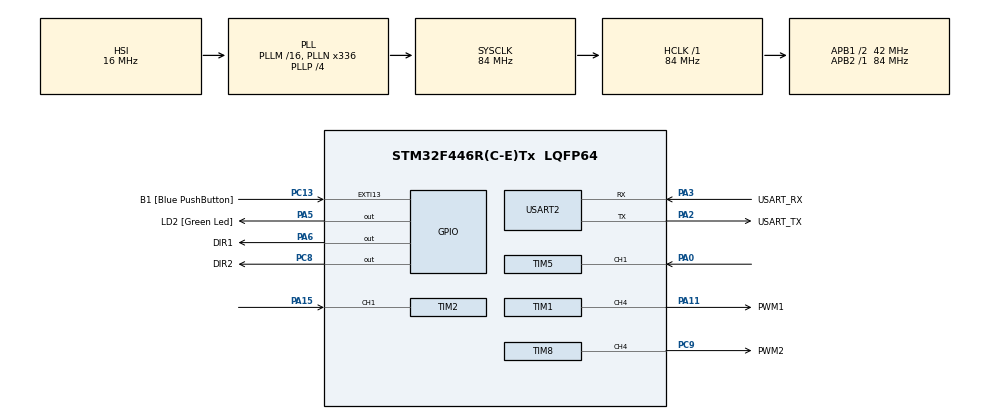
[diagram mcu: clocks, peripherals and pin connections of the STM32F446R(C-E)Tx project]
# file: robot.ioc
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Mcu.Family=STM32F4
Mcu.Name=STM32F446R(C-E)Tx
Mcu.Package=LQFP64
NVIC.EXTI15_10_IRQn=true\:0\:0\:false\:true\:true\:1\:true\:true\:true
NVIC.PriorityGroup=NVIC_PRIORITYGROUP_0
NVIC.TIM2_IRQn=true\:0\:0\:false\:true\:true\:3\:true\:true\:true
NVIC.TIM5_IRQn=true\:0\:0\:false\:true\:true\:2\:true\:true\:true
PA0-WKUP.Signal=S_TIM5_CH1
PA11.GPIO_Label=PWM1
PA11.Signal=S_TIM1_CH4
PA13.GPIO_Label=TMS
PA13.Mode=Serial_Wire
PA13.Signal=SYS_JTMS-SWDIO
PA14.GPIO_Label=TCK
PA14.Mode=Serial_Wire
PA14.Signal=SYS_JTCK-SWCLK
PA15.Signal=S_TIM2_CH1_ETR
PA2.GPIO_Label=USART_TX
PA2.Mode=Asynchronous
PA2.Signal=USART2_TX
PA3.GPIO_Label=USART_RX
PA3.Mode=Asynchronous
PA3.Signal=USART2_RX
PA5.GPIO_Label=LD2 [Green Led]
PA5.Signal=GPIO_Output
PA6.GPIO_Label=DIR1
PA6.Signal=GPIO_Output
PB3.GPIO_Label=SWO
PB3.Signal=SYS_JTDO-SWO
PC13.GPIO_Label=B1 [Blue PushButton]
PC13.GPIO_ModeDefaultEXTI=GPIO_MODE_IT_FALLING
PC13.Signal=GPXTI13
PC14-OSC32_IN.Mode=LSE-External-Oscillator
PC14-OSC32_IN.Signal=RCC_OSC32_IN
PC15-OSC32_OUT.Mode=LSE-External-Oscillator
PC15-OSC32_OUT.Signal=RCC_OSC32_OUT
PC8.GPIO_Label=DIR2
PC8.Signal=GPIO_Output
PC9.GPIO_Label=PWM2
PC9.Signal=S_TIM8_CH4
PH0-OSC_IN.Mode=HSE-External-Oscillator
PH0-OSC_IN.Signal=RCC_OSC_IN
PH1-OSC_OUT.Mode=HSE-External-Oscillator
PH1-OSC_OUT.Signal=RCC_OSC_OUT
ProjectManager.HeapSize=0x200
ProjectManager.StackSize=0x400
ProjectManager.TargetToolchain=Makefile
RCC.48MHZClocksFreq_Value=84000000
RCC.AHBFreq_Value=84000000
RCC.APB1CLKDivider=RCC_HCLK_DIV2
RCC.APB1Freq_Value=42000000
RCC.APB1TimFreq_Value=84000000
RCC.APB2Freq_Value=84000000
RCC.APB2TimFreq_Value=84000000
RCC.CortexFreq_Value=84000000
RCC.FLatency-AdvancedSettings=FLASH_LATENCY_2
RCC.HCLKFreq_Value=84000000
RCC.HSE_VALUE=8000000
RCC.HSI_VALUE=16000000
RCC.PLLN=336
RCC.PLLP=RCC_PLLP_DIV4
RCC.SYSCLKFreq_VALUE=84000000
RCC.SYSCLKSource=RCC_SYSCLKSOURCE_PLLCLK
RCC.USBFreq_Value=168000000
RCC.VCOOutputFreq_Value=336000000
SH.S_TIM1_CH4.0=TIM1_CH4,PWM Generation4 CH4
SH.S_TIM2_CH1_ETR.0=TIM2_CH1,Input_Capture1_from_TI1
SH.S_TIM5_CH1.0=TIM5_CH1,Input_Capture1_from_TI1
SH.S_TIM8_CH4.0=TIM8_CH4,PWM Generation4 CH4
TIM1.AutoReloadPreload=TIM_AUTORELOAD_PRELOAD_ENABLE
TIM1.Channel-PWM\ Generation4\ CH4=TIM_CHANNEL_4
TIM2.Channel-Input_Capture1_from_TI1=TIM_CHANNEL_1
TIM5.Channel-Input_Capture1_from_TI1=TIM_CHANNEL_1
TIM5.Prescaler=0
TIM8.AutoReloadPreload=TIM_AUTORELOAD_PRELOAD_ENABLE
TIM8.Channel-PWM\ Generation4\ CH4=TIM_CHANNEL_4
USART2.VirtualMode=VM_ASYNC
VP_TIM1_VS_ClockSourceINT.Mode=Internal
VP_TIM2_VS_ClockSourceINT.Mode=Internal
VP_TIM5_VS_ClockSourceINT.Mode=Internal
VP_TIM8_VS_ClockSourceINT.Mode=Internal
board=NUCLEO-F446RE

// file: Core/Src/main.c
/* USER CODE BEGIN Header */
/**
  ******************************************************************************
  * @file           : main.c
  * @brief          : Main program body
  ******************************************************************************
  * @attention
  *
  * Copyright (c) 2025 STMicroelectronics.
  * All rights reserved.
  *
  * This software is licensed under terms that can be found in the LICENSE file
  * in the root directory of this software component.
  * If no LICENSE file comes with this software, it is provided AS-IS.
  *
  ******************************************************************************
  */
/* USER CODE END Header */
#include "main.h"

/* USER CODE BEGIN PD */
#define FRONTWARD 1
#define BACKWARD 0
/* USER CODE END PD */

TIM_HandleTypeDef htim1;
TIM_HandleTypeDef htim2;
TIM_HandleTypeDef htim5;
TIM_HandleTypeDef htim8;

UART_HandleTypeDef huart2;

void SystemClock_Config(void);
static void MX_GPIO_Init(void);
static void MX_USART2_UART_Init(void);
static void MX_TIM1_Init(void);
static void MX_TIM8_Init(void);
static void MX_TIM2_Init(void);
static void MX_TIM5_Init(void);
static void MX_NVIC_Init(void);
/* USER CODE BEGIN PFP */
static void setMotorLeftSpeed(uint8_t speed);
static void setMotorRightSpeed(uint8_t speed);
static void setMotorLeftDir(uint8_t dir);
static void setMotorRightDir(uint8_t dir);
/* USER CODE END PFP */

int main(void)
{

  /* MCU Configuration--------------------------------------------------------*/

  /* Reset of all peripherals, Initializes the Flash interface and the Systick. */
  HAL_Init();

  /* Configure the system clock */
  SystemClock_Config();

  /* Initialize all configured peripherals */
  MX_GPIO_Init();
  MX_USART2_UART_Init();
  MX_TIM1_Init();
  MX_TIM8_Init();
  MX_TIM2_Init();
  MX_TIM5_Init();

  /* Initialize interrupts */
  MX_NVIC_Init();

  /* Infinite loop */
  /* USER CODE BEGIN WHILE */
  uint8_t selection = 0;
  uint8_t speed_val = 0;
  uint8_t dir_val = FRONTWARD;
  char buffer[100];

  // Start both PWMs
  HAL_TIM_PWM_Start(&htim1, TIM_CHANNEL_4);  // start PWM1 on TIM1_CH4
  HAL_TIM_PWM_Start(&htim8, TIM_CHANNEL_4);  // start PWM2 on TIM8_CH4

  // Startup message
  HAL_UART_Transmit(&huart2, "Press any key to stop\r\n", 28, 1000u);
  while (1)
  {
    /* Receive a character from user */
	  if (HAL_UART_Receive(&huart2, &selection, 1, 0u) == HAL_OK)
	  {
		  switch (selection)
		  {
			  case '1':
				  HAL_UART_Transmit(&huart2, "Program has stopped\r\n", 28, 1000u);
				  break;

			  case '2':
				  HAL_UART_Transmit(&huart2, "Program has stopped\r\n", 28, 1000u);
				  break;

			  case '3':
				  HAL_UART_Transmit(&huart2, "Program has stopped\r\n", 28, 1000u);
				  break;

			  default:
				  HAL_UART_Transmit(&huart2, "Program has stopped\r\n", 34, 1000u);
				  break;
		  }
	  }
    /* Send command to both motors */
    if(selection == 0)  // if any key is pressed, the program stops
    {
      while(speed_val < 100)
      {
        setMotorLeftSpeed(speed_val);
        setMotorRightSpeed(speed_val);
        speed_val += 1;
        HAL_Delay(10);
      }
      while(speed_val > 0)
      {
        setMotorLeftSpeed(speed_val);
        setMotorRightSpeed(speed_val);
        speed_val -= 1;
        HAL_Delay(10);
      }
      // Inverse direction
      if(dir_val == FRONTWARD)
      {
        setMotorLeftDir(FRONTWARD);
        setMotorRightDir(FRONTWARD);
        dir_val = BACKWARD;
      }
      else
      {
        setMotorLeftDir(BACKWARD);
        setMotorRightDir(BACKWARD);
        dir_val = FRONTWARD;
      }
      HAL_Delay(100);

      //sprintf(buffer, "dir_val = 0x%02x\r\n", dir_val);
      //HAL_UART_Transmit(&huart2, buffer, 28, 1000u);
    }
    else
    {
      HAL_TIM_PWM_Stop(&htim1, TIM_CHANNEL_4);  // start PWM1 on TIM1_CH4
      HAL_TIM_PWM_Stop(&htim8, TIM_CHANNEL_4);  // start PWM2 on TIM8_CH4
    }
    /* USER CODE END WHILE */

  }
}

void SystemClock_Config(void)
{
  RCC_OscInitTypeDef RCC_OscInitStruct = {0};
  RCC_ClkInitTypeDef RCC_ClkInitStruct = {0};

  /** Configure the main internal regulator output voltage
  */
  __HAL_RCC_PWR_CLK_ENABLE();
  __HAL_PWR_VOLTAGESCALING_CONFIG(PWR_REGULATOR_VOLTAGE_SCALE3);

  /** Initializes the RCC Oscillators according to the specified parameters
  * in the RCC_OscInitTypeDef structure.
  */
  RCC_OscInitStruct.OscillatorType = RCC_OSCILLATORTYPE_HSI;
  RCC_OscInitStruct.HSIState = RCC_HSI_ON;
  RCC_OscInitStruct.HSICalibrationValue = RCC_HSICALIBRATION_DEFAULT;
  RCC_OscInitStruct.PLL.PLLState = RCC_PLL_ON;
  RCC_OscInitStruct.PLL.PLLSource = RCC_PLLSOURCE_HSI;
  RCC_OscInitStruct.PLL.PLLM = 16;
  RCC_OscInitStruct.PLL.PLLN = 336;
  RCC_OscInitStruct.PLL.PLLP = RCC_PLLP_DIV4;
  RCC_OscInitStruct.PLL.PLLQ = 2;
  RCC_OscInitStruct.PLL.PLLR = 2;
  if (HAL_RCC_OscConfig(&RCC_OscInitStruct) != HAL_OK)
  {
    Error_Handler();
  }

  /** Initializes the CPU, AHB and APB buses clocks
  */
  RCC_ClkInitStruct.ClockType = RCC_CLOCKTYPE_HCLK|RCC_CLOCKTYPE_SYSCLK
                              |RCC_CLOCKTYPE_PCLK1|RCC_CLOCKTYPE_PCLK2;
  RCC_ClkInitStruct.SYSCLKSource = RCC_SYSCLKSOURCE_PLLCLK;
  RCC_ClkInitStruct.AHBCLKDivider = RCC_SYSCLK_DIV1;
  RCC_ClkInitStruct.APB1CLKDivider = RCC_HCLK_DIV2;
  RCC_ClkInitStruct.APB2CLKDivider = RCC_HCLK_DIV1;

  if (HAL_RCC_ClockConfig(&RCC_ClkInitStruct, FLASH_LATENCY_2) != HAL_OK)
  {
    Error_Handler();
  }
}

/**
  * @brief NVIC Configuration.
  * @retval None
  */
static void MX_NVIC_Init(void)
{
  /* EXTI15_10_IRQn interrupt configuration */
  HAL_NVIC_SetPriority(EXTI15_10_IRQn, 0, 0);
  HAL_NVIC_EnableIRQ(EXTI15_10_IRQn);
  /* TIM5_IRQn interrupt configuration */
  HAL_NVIC_SetPriority(TIM5_IRQn, 0, 0);
  HAL_NVIC_EnableIRQ(TIM5_IRQn);
  /* TIM2_IRQn interrupt configuration */
  HAL_NVIC_SetPriority(TIM2_IRQn, 0, 0);
  HAL_NVIC_EnableIRQ(TIM2_IRQn);
}

static void MX_TIM1_Init(void)
{

  TIM_ClockConfigTypeDef sClockSourceConfig = {0};
  TIM_MasterConfigTypeDef sMasterConfig = {0};
  TIM_OC_InitTypeDef sConfigOC = {0};
  TIM_BreakDeadTimeConfigTypeDef sBreakDeadTimeConfig = {0};

  htim1.Instance = TIM1;
  htim1.Init.Prescaler = 0;
  htim1.Init.CounterMode = TIM_COUNTERMODE_UP;
  htim1.Init.Period = 65535;
  htim1.Init.ClockDivision = TIM_CLOCKDIVISION_DIV1;
  htim1.Init.RepetitionCounter = 0;
  htim1.Init.AutoReloadPreload = TIM_AUTORELOAD_PRELOAD_ENABLE;
  if (HAL_TIM_Base_Init(&htim1) != HAL_OK)
  {
    Error_Handler();
  }
  sClockSourceConfig.ClockSource = TIM_CLOCKSOURCE_INTERNAL;
  if (HAL_TIM_ConfigClockSource(&htim1, &sClockSourceConfig) != HAL_OK)
  {
    Error_Handler();
  }
  if (HAL_TIM_PWM_Init(&htim1) != HAL_OK)
  {
    Error_Handler();
  }
  sMasterConfig.MasterOutputTrigger = TIM_TRGO_RESET;
  sMasterConfig.MasterSlaveMode = TIM_MASTERSLAVEMODE_DISABLE;
  if (HAL_TIMEx_MasterConfigSynchronization(&htim1, &sMasterConfig) != HAL_OK)
  {
    Error_Handler();
  }
  sConfigOC.OCMode = TIM_OCMODE_PWM1;
  sConfigOC.Pulse = 0;
  sConfigOC.OCPolarity = TIM_OCPOLARITY_HIGH;
  sConfigOC.OCFastMode = TIM_OCFAST_DISABLE;
  sConfigOC.OCIdleState = TIM_OCIDLESTATE_RESET;
  sConfigOC.OCNIdleState = TIM_OCNIDLESTATE_RESET;
  if (HAL_TIM_PWM_ConfigChannel(&htim1, &sConfigOC, TIM_CHANNEL_4) != HAL_OK)
  {
    Error_Handler();
  }
  sBreakDeadTimeConfig.OffStateRunMode = TIM_OSSR_DISABLE;
  sBreakDeadTimeConfig.OffStateIDLEMode = TIM_OSSI_DISABLE;
  sBreakDeadTimeConfig.LockLevel = TIM_LOCKLEVEL_OFF;
  sBreakDeadTimeConfig.DeadTime = 0;
  sBreakDeadTimeConfig.BreakState = TIM_BREAK_DISABLE;
  sBreakDeadTimeConfig.BreakPolarity = TIM_BREAKPOLARITY_HIGH;
  sBreakDeadTimeConfig.AutomaticOutput = TIM_AUTOMATICOUTPUT_DISABLE;
  if (HAL_TIMEx_ConfigBreakDeadTime(&htim1, &sBreakDeadTimeConfig) != HAL_OK)
  {
    Error_Handler();
  }
  HAL_TIM_MspPostInit(&htim1);

}

static void MX_TIM2_Init(void)
{

  TIM_ClockConfigTypeDef sClockSourceConfig = {0};
  TIM_MasterConfigTypeDef sMasterConfig = {0};
  TIM_IC_InitTypeDef sConfigIC = {0};

  htim2.Instance = TIM2;
  htim2.Init.Prescaler = 0;
  htim2.Init.CounterMode = TIM_COUNTERMODE_UP;
  htim2.Init.Period = 4294967295;
  htim2.Init.ClockDivision = TIM_CLOCKDIVISION_DIV1;
  htim2.Init.AutoReloadPreload = TIM_AUTORELOAD_PRELOAD_DISABLE;
  if (HAL_TIM_Base_Init(&htim2) != HAL_OK)
  {
    Error_Handler();
  }
  sClockSourceConfig.ClockSource = TIM_CLOCKSOURCE_INTERNAL;
  if (HAL_TIM_ConfigClockSource(&htim2, &sClockSourceConfig) != HAL_OK)
  {
    Error_Handler();
  }
  if (HAL_TIM_IC_Init(&htim2) != HAL_OK)
  {
    Error_Handler();
  }
  sMasterConfig.MasterOutputTrigger = TIM_TRGO_RESET;
  sMasterConfig.MasterSlaveMode = TIM_MASTERSLAVEMODE_DISABLE;
  if (HAL_TIMEx_MasterConfigSynchronization(&htim2, &sMasterConfig) != HAL_OK)
  {
    Error_Handler();
  }
  sConfigIC.ICPolarity = TIM_INPUTCHANNELPOLARITY_RISING;
  sConfigIC.ICSelection = TIM_ICSELECTION_DIRECTTI;
  sConfigIC.ICPrescaler = TIM_ICPSC_DIV1;
  sConfigIC.ICFilter = 0;
  if (HAL_TIM_IC_ConfigChannel(&htim2, &sConfigIC, TIM_CHANNEL_1) != HAL_OK)
  {
    Error_Handler();
  }

}

static void MX_TIM5_Init(void)
{

  TIM_ClockConfigTypeDef sClockSourceConfig = {0};
  TIM_MasterConfigTypeDef sMasterConfig = {0};
  TIM_IC_InitTypeDef sConfigIC = {0};

  htim5.Instance = TIM5;
  htim5.Init.Prescaler = 0;
  htim5.Init.CounterMode = TIM_COUNTERMODE_UP;
  htim5.Init.Period = 4294967295;
  htim5.Init.ClockDivision = TIM_CLOCKDIVISION_DIV1;
  htim5.Init.AutoReloadPreload = TIM_AUTORELOAD_PRELOAD_DISABLE;
  if (HAL_TIM_Base_Init(&htim5) != HAL_OK)
  {
    Error_Handler();
  }
  sClockSourceConfig.ClockSource = TIM_CLOCKSOURCE_INTERNAL;
  if (HAL_TIM_ConfigClockSource(&htim5, &sClockSourceConfig) != HAL_OK)
  {
    Error_Handler();
  }
  if (HAL_TIM_IC_Init(&htim5) != HAL_OK)
  {
    Error_Handler();
  }
  sMasterConfig.MasterOutputTrigger = TIM_TRGO_RESET;
  sMasterConfig.MasterSlaveMode = TIM_MASTERSLAVEMODE_DISABLE;
  if (HAL_TIMEx_MasterConfigSynchronization(&htim5, &sMasterConfig) != HAL_OK)
  {
    Error_Handler();
  }
  sConfigIC.ICPolarity = TIM_INPUTCHANNELPOLARITY_RISING;
  sConfigIC.ICSelection = TIM_ICSELECTION_DIRECTTI;
  sConfigIC.ICPrescaler = TIM_ICPSC_DIV1;
  sConfigIC.ICFilter = 0;
  if (HAL_TIM_IC_ConfigChannel(&htim5, &sConfigIC, TIM_CHANNEL_1) != HAL_OK)
  {
    Error_Handler();
  }

}

static void MX_TIM8_Init(void)
{

  TIM_ClockConfigTypeDef sClockSourceConfig = {0};
  TIM_MasterConfigTypeDef sMasterConfig = {0};
  TIM_OC_InitTypeDef sConfigOC = {0};
  TIM_BreakDeadTimeConfigTypeDef sBreakDeadTimeConfig = {0};

  htim8.Instance = TIM8;
  htim8.Init.Prescaler = 0;
  htim8.Init.CounterMode = TIM_COUNTERMODE_UP;
  htim8.Init.Period = 65535;
  htim8.Init.ClockDivision = TIM_CLOCKDIVISION_DIV1;
  htim8.Init.RepetitionCounter = 0;
  htim8.Init.AutoReloadPreload = TIM_AUTORELOAD_PRELOAD_ENABLE;
  if (HAL_TIM_Base_Init(&htim8) != HAL_OK)
  {
    Error_Handler();
  }
  sClockSourceConfig.ClockSource = TIM_CLOCKSOURCE_INTERNAL;
  if (HAL_TIM_ConfigClockSource(&htim8, &sClockSourceConfig) != HAL_OK)
  {
    Error_Handler();
  }
  if (HAL_TIM_PWM_Init(&htim8) != HAL_OK)
  {
    Error_Handler();
  }
  sMasterConfig.MasterOutputTrigger = TIM_TRGO_RESET;
  sMasterConfig.MasterSlaveMode = TIM_MASTERSLAVEMODE_DISABLE;
  if (HAL_TIMEx_MasterConfigSynchronization(&htim8, &sMasterConfig) != HAL_OK)
  {
    Error_Handler();
  }
  sConfigOC.OCMode = TIM_OCMODE_PWM1;
  sConfigOC.Pulse = 0;
  sConfigOC.OCPolarity = TIM_OCPOLARITY_HIGH;
  sConfigOC.OCFastMode = TIM_OCFAST_DISABLE;
  sConfigOC.OCIdleState = TIM_OCIDLESTATE_RESET;
  sConfigOC.OCNIdleState = TIM_OCNIDLESTATE_RESET;
  if (HAL_TIM_PWM_ConfigChannel(&htim8, &sConfigOC, TIM_CHANNEL_4) != HAL_OK)
  {
    Error_Handler();
  }
  sBreakDeadTimeConfig.OffStateRunMode = TIM_OSSR_DISABLE;
  sBreakDeadTimeConfig.OffStateIDLEMode = TIM_OSSI_DISABLE;
  sBreakDeadTimeConfig.LockLevel = TIM_LOCKLEVEL_OFF;
  sBreakDeadTimeConfig.DeadTime = 0;
  sBreakDeadTimeConfig.BreakState = TIM_BREAK_DISABLE;
  sBreakDeadTimeConfig.BreakPolarity = TIM_BREAKPOLARITY_HIGH;
  sBreakDeadTimeConfig.AutomaticOutput = TIM_AUTOMATICOUTPUT_DISABLE;
  if (HAL_TIMEx_ConfigBreakDeadTime(&htim8, &sBreakDeadTimeConfig) != HAL_OK)
  {
    Error_Handler();
  }
  HAL_TIM_MspPostInit(&htim8);

}

static void MX_USART2_UART_Init(void)
{

  huart2.Instance = USART2;
  huart2.Init.BaudRate = 115200;
  huart2.Init.WordLength = UART_WORDLENGTH_8B;
  huart2.Init.StopBits = UART_STOPBITS_1;
  huart2.Init.Parity = UART_PARITY_NONE;
  huart2.Init.Mode = UART_MODE_TX_RX;
  huart2.Init.HwFlowCtl = UART_HWCONTROL_NONE;
  huart2.Init.OverSampling = UART_OVERSAMPLING_16;
  if (HAL_UART_Init(&huart2) != HAL_OK)
  {
    Error_Handler();
  }

}

static void MX_GPIO_Init(void)
{
  GPIO_InitTypeDef GPIO_InitStruct = {0};

  /* GPIO Ports Clock Enable */
  __HAL_RCC_GPIOC_CLK_ENABLE();
  __HAL_RCC_GPIOH_CLK_ENABLE();
  __HAL_RCC_GPIOA_CLK_ENABLE();
  __HAL_RCC_GPIOB_CLK_ENABLE();

  /*Configure GPIO pin Output Level */
  HAL_GPIO_WritePin(GPIOA, LD2_Pin|DIR1_Pin, GPIO_PIN_RESET);

  /*Configure GPIO pin Output Level */
  HAL_GPIO_WritePin(DIR2_GPIO_Port, DIR2_Pin, GPIO_PIN_RESET);

  /*Configure GPIO pin : B1_Pin */
  GPIO_InitStruct.Pin = B1_Pin;
  GPIO_InitStruct.Mode = GPIO_MODE_IT_FALLING;
  GPIO_InitStruct.Pull = GPIO_NOPULL;
  HAL_GPIO_Init(B1_GPIO_Port, &GPIO_InitStruct);

  /*Configure GPIO pins : LD2_Pin DIR1_Pin */
  GPIO_InitStruct.Pin = LD2_Pin|DIR1_Pin;
  GPIO_InitStruct.Mode = GPIO_MODE_OUTPUT_PP;
  GPIO_InitStruct.Pull = GPIO_NOPULL;
  GPIO_InitStruct.Speed = GPIO_SPEED_FREQ_LOW;
  HAL_GPIO_Init(GPIOA, &GPIO_InitStruct);

  /*Configure GPIO pin : DIR2_Pin */
  GPIO_InitStruct.Pin = DIR2_Pin;
  GPIO_InitStruct.Mode = GPIO_MODE_OUTPUT_PP;
  GPIO_InitStruct.Pull = GPIO_NOPULL;
  GPIO_InitStruct.Speed = GPIO_SPEED_FREQ_LOW;
  HAL_GPIO_Init(DIR2_GPIO_Port, &GPIO_InitStruct);

}

/* USER CODE BEGIN 4 */
/**
  * @brief  Set speed value of left motor
  * @param  speed: speed value in percentage (0-100)
  * @retval None
  */
static void setMotorLeftSpeed(uint8_t speed)
{
  uint32_t CCR_val = (uint32_t)((speed * 65535) / 100);  // Compute CCR value from percentage
  TIM8->CCR4 = CCR_val;
}

/**
  * @brief  Set speed value of right motor
  * @param  speed: speed value in percentage (0-100)
  * @retval None
  */
static void setMotorRightSpeed(uint8_t speed)
{
  uint32_t CCR_val = (uint32_t)((speed * 65535) / 100);  // Compute CCR value from percentage
  TIM1->CCR4 = CCR_val;
}

/**
  * @brief  Set left motor direction
  * @param  dir: motor rotation direction (FRONTWARD/BACKWARD)
  * @retval None
  */
static void setMotorLeftDir(uint8_t dir)
{
  if(dir == FRONTWARD)
    HAL_GPIO_WritePin(GPIOC, GPIO_PIN_8, GPIO_PIN_RESET);  // set DIR2 to frontward
  else
    HAL_GPIO_WritePin(GPIOC, GPIO_PIN_8, GPIO_PIN_SET);    // set DIR2 to backward
}

/**
  * @brief  Set right motor direction
  * @param  dir: motor rotation direction (FRONTWARD/BACKWARD)
  * @retval None
  */
static void setMotorRightDir(uint8_t dir)
{
  if(dir == FRONTWARD)
    HAL_GPIO_WritePin(GPIOA, GPIO_PIN_6, GPIO_PIN_SET);    // set DIR1 to frontward
  else
    HAL_GPIO_WritePin(GPIOA, GPIO_PIN_6, GPIO_PIN_RESET);  // set DIR1 to backward
}
/* USER CODE END 4 */

void Error_Handler(void)
{
  __disable_irq();
  while (1)
  {
  }
}
